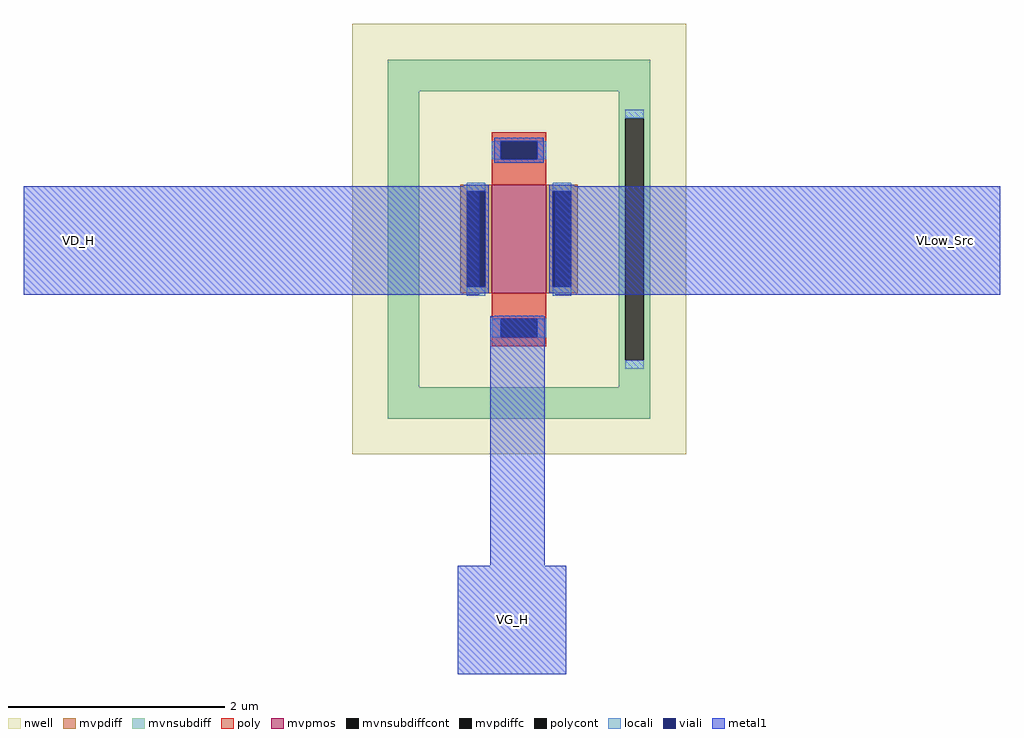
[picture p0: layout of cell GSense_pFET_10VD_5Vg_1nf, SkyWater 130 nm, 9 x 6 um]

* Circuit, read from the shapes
.subckt GSense_pFET_10VD_5Vg_1nf VD_H VG_H VLow_Src
XM1 VLow_Src VG_H VD_H n1 sky130_fd_pr__pfet_g5v0d10v5 w=1 l=0.5
.ends

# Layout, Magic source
magic
tech sky130A
magscale 1 2
<< metal1 >>
rect -700 -600 140 -400
rect 280 -600 1100 -400
rect 160 -1100 260 -640
rect 100 -1300 300 -1100
use sky130_fd_pr__pfet_g5v0d10v5_WLCVX2  XM1
transform 1 0 213 0 1 -498
box -308 -397 308 397
<< labels >>
flabel metal1 -700 -600 -500 -400 0 FreeSans 160 0 0 0 VD_H
port 0 nsew
flabel metal1 900 -600 1100 -400 0 FreeSans 160 0 0 0 VLow_Src
port 2 nsew
flabel metal1 100 -1300 300 -1100 0 FreeSans 160 0 0 0 VG_H
port 1 nsew
<< end >>

# cell sky130_fd_pr__pfet_g5v0d10v5_WLCVX2: kit device sky130_fd_pr__pfet_g5v0d10v5, w 1.0 l 0.50 m 1 nf 1 diffcov 100 polycov 100 guard 1 glc 0 grc 1 gtc 0 gbc 0 tbcov 100 rlcov 100 topc 1 botc 1 poverlap 0 doverlap 1 lmin 0.50 wmin 0.42 compatible {sky130_fd_pr__pfet_01v8 sky130_fd_pr__pfet_01v8_lvt sky130_fd_pr__pfet_01v8_hvt sky130_fd_pr__pfet_g5v0d10v5} full_metal 0 viasrc 100 viadrn 100 viagate 100 viagb 0 viagr 0 viagl 0 viagt 0
